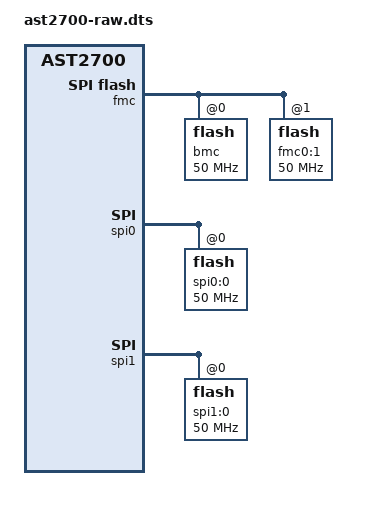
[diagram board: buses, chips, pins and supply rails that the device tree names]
// SPDX-License-Identifier: GPL-2.0-or-later

/dts-v1/;

#include "ast2700-evb.dts"

&fmc {
	status = "okay";
	pinctrl-0 = <&pinctrl_fwspi_quad_default>;
	pinctrl-names = "default";

	flash@0 {
		status = "okay";
		m25p,fast-read;
		label = "bmc";
		spi-max-frequency = <50000000>;
		spi-tx-bus-width = <2>;
		spi-rx-bus-width = <2>;
#include "aspeed-evb-flash-layout-128.dtsi"
	};

	flash@1 {
		status = "okay";
		m25p,fast-read;
		label = "fmc0:1";
		spi-max-frequency = <50000000>;
		spi-tx-bus-width = <2>;
		spi-rx-bus-width = <2>;
	};

	flash@2 {
		status = "disabled";
		m25p,fast-read;
		label = "fmc0:2";
		spi-max-frequency = <50000000>;
		spi-tx-bus-width = <2>;
		spi-rx-bus-width = <2>;
	};
};

&spi0 {
	status = "okay";
	pinctrl-0 = <&pinctrl_spi0_default &pinctrl_spi0_cs1_default>;
	pinctrl-names = "default";

	flash@0 {
		status = "okay";
		m25p,fast-read;
		label = "spi0:0";
		spi-max-frequency = <50000000>;
		spi-tx-bus-width = <2>;
		spi-rx-bus-width = <2>;
	};

	flash@1 {
		status = "disabled";
		m25p,fast-read;
		label = "spi0:1";
		spi-max-frequency = <50000000>;
		spi-tx-bus-width = <2>;
		spi-rx-bus-width = <2>;
	};
};

&spi1 {
	status = "okay";
	pinctrl-0 = <&pinctrl_spi1_default &pinctrl_spi1_cs1_default>;
	pinctrl-names = "default";

	flash@0 {
		status = "okay";
		m25p,fast-read;
		label = "spi1:0";
		spi-max-frequency = <50000000>;
		spi-tx-bus-width = <2>;
		spi-rx-bus-width = <2>;
	};

	flash@1 {
		status = "disabled";
		m25p,fast-read;
		label = "spi1:1";
		spi-max-frequency = <50000000>;
		spi-tx-bus-width = <2>;
		spi-rx-bus-width = <2>;
	};
};

&spi2 {
	status = "disabled";
};

&emmc_controller {
	status = "disabled";
};

&emmc {
	status = "disabled";
};

&ufs_controller {
	status = "disabled";
};

&ufs {
	status = "disabled";
};

&video0 {
	status = "disabled";
};

&video1 {
	status = "disabled";
};

&disp_intf {
	status = "disabled";
};

#if PCIE0_EP
&bmc_dev0 {
	status = "disabled";
};

&xdma0 {
	status = "disabled";
};

&pcie_vuart0 {
	status = "disabled";
};

&pcie_vuart1 {
	status = "disabled";
};

&pcie_lpc0_kcs0 {
	status = "disabled";
};

&pcie_lpc0_kcs1 {
	status = "disabled";
};

&pcie_lpc0_kcs2 {
	status = "disabled";
};

&pcie_lpc0_kcs3 {
	status = "disabled";
};

&pcie_lpc0_ibt {
	status = "disabled";
};

&pcie0_mmbi0 {
	status = "disabled";
};
#else
&pcie0 {
	status = "disabled";
};
#endif

#if PCIE1_EP
&bmc_dev1 {
	status = "disabled";
};

&xdma1 {
	status = "disabled";
};

&pcie_vuart2 {
	status = "disabled";
};

&pcie_vuart3 {
	status = "disabled";
};

&pcie_lpc1_kcs0 {
	status = "disabled";
};

&pcie_lpc1_kcs1 {
	status = "disabled";
};

&pcie_lpc1_kcs2 {
	status = "disabled";
};

&pcie_lpc1_kcs3 {
	status = "disabled";
};

&pcie_lpc1_ibt {
	status = "disabled";
};

&pcie1_mmbi4 {
	status = "disabled";
};
#else
&pcie1 {
	status = "disabled";
};
#endif

&sdio_controller {
	status = "disabled";
};

&sdhci {
	status = "disabled";
};

